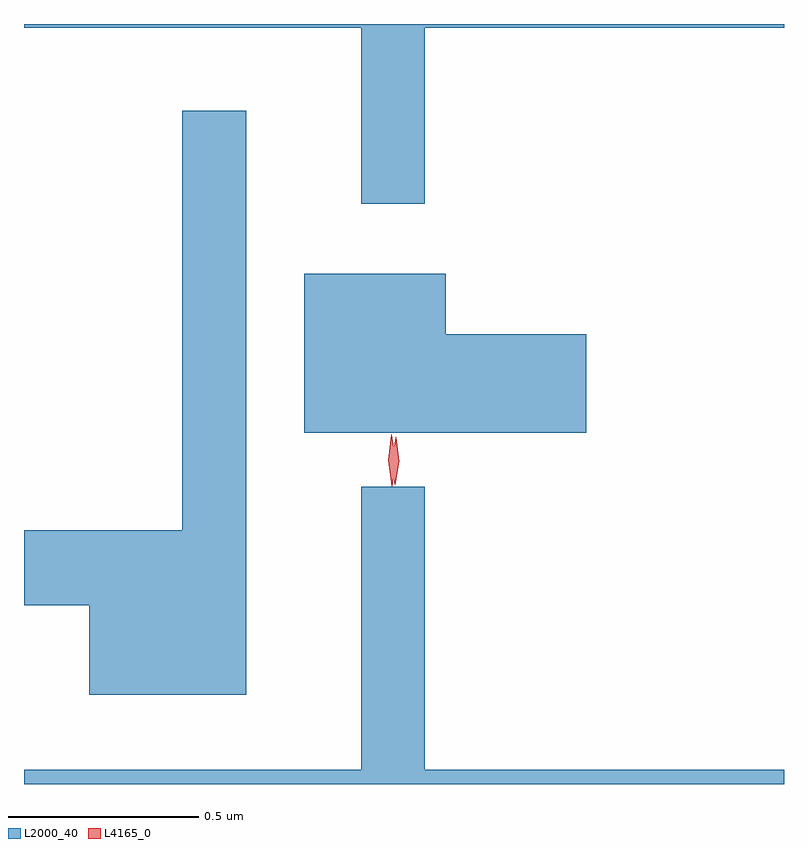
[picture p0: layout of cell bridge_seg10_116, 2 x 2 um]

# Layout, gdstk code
import gdstk
lib = gdstk.Library(unit=1e-6, precision=1e-09)
def P(c, l, *ps):  # polygons
    for p in ps: c.add(gdstk.Polygon(p, *l))
L2000_40 = (2000, 40)
L4165_0 = (4165, 0)

bridge_seg10_116 = lib.new_cell('bridge_seg10_116')
P(bridge_seg10_116, L2000_40, [(1536.339,2173.856),(1537.284,2173.856),(1537.284,2173.866),(1535.284,2173.866),(1535.284,2173.856),(1536.171,2173.856),(1536.171,2173.393),(1536.339,2173.393)],
  [(1535.869,2173.638),(1535.701,2173.638),(1535.701,2172.534),(1535.284,2172.534),(1535.284,2172.336),(1535.456,2172.336),(1535.456,2172.101),(1535.869,2172.101)],
  [(1536.764,2173.049),(1536.394,2173.049),(1536.394,2173.209),(1536.021,2173.209),(1536.021,2172.791),(1536.764,2172.791)],
  [(1537.284,2171.904),(1536.339,2171.904),(1536.339,2172.648),(1536.171,2172.648),(1536.171,2171.904),(1535.284,2171.904),(1535.284,2171.866),(1537.284,2171.866)])
P(bridge_seg10_116, L4165_0, [(1536.26,2172.653),(1536.252,2172.716),(1536.262,2172.779),(1536.262,2172.78),(1536.263,2172.779),(1536.272,2172.716),(1536.261,2172.653),(1536.261,2172.653)],
  [(1536.252,2172.65),(1536.242,2172.718),(1536.251,2172.785),(1536.252,2172.786),(1536.252,2172.785),(1536.262,2172.718),(1536.253,2172.65),(1536.253,2172.65)])

lib.write_gds('bridge_seg10_116.gds')
